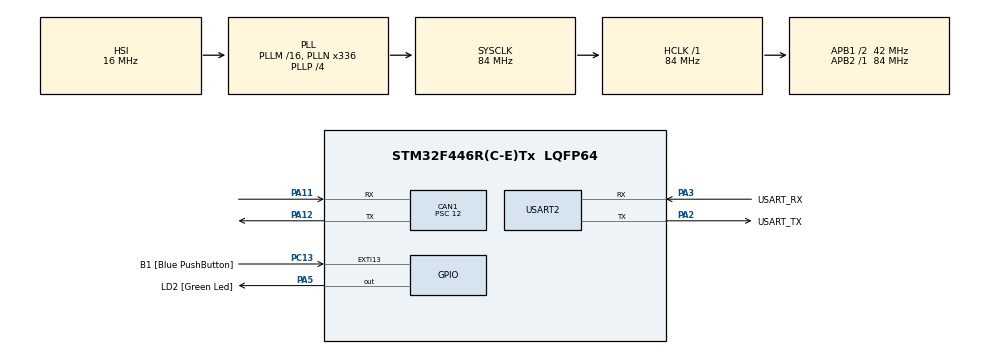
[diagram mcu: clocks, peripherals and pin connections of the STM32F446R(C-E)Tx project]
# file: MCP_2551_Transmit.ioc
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CAN1.BS1=CAN_BS1_5TQ
CAN1.CalculateBaudRate=500000
CAN1.CalculateTimeBit=2000
CAN1.CalculateTimeQuantum=285.7142857142857
CAN1.Prescaler=12
Mcu.Family=STM32F4
Mcu.Name=STM32F446R(C-E)Tx
Mcu.Package=LQFP64
NVIC.CAN1_RX0_IRQn=true\:0\:0\:false\:false\:true\:true\:true\:true
NVIC.PriorityGroup=NVIC_PRIORITYGROUP_0
PA11.Mode=CAN_Activate
PA11.Signal=CAN1_RX
PA12.Mode=CAN_Activate
PA12.Signal=CAN1_TX
PA13.GPIO_Label=TMS
PA13.Mode=Serial_Wire
PA13.Signal=SYS_JTMS-SWDIO
PA14.GPIO_Label=TCK
PA14.Mode=Serial_Wire
PA14.Signal=SYS_JTCK-SWCLK
PA2.GPIO_Label=USART_TX
PA2.Mode=Asynchronous
PA2.Signal=USART2_TX
PA3.GPIO_Label=USART_RX
PA3.Mode=Asynchronous
PA3.Signal=USART2_RX
PA5.GPIO_Label=LD2 [Green Led]
PA5.Signal=GPIO_Output
PB3.GPIO_Label=SWO
PB3.Signal=SYS_JTDO-SWO
PC13.GPIO_Label=B1 [Blue PushButton]
PC13.GPIO_ModeDefaultEXTI=GPIO_MODE_IT_FALLING
PC13.Signal=GPXTI13
PC14-OSC32_IN.Mode=LSE-External-Oscillator
PC14-OSC32_IN.Signal=RCC_OSC32_IN
PC15-OSC32_OUT.Mode=LSE-External-Oscillator
PC15-OSC32_OUT.Signal=RCC_OSC32_OUT
PH0-OSC_IN.Mode=HSE-External-Oscillator
PH0-OSC_IN.Signal=RCC_OSC_IN
PH1-OSC_OUT.Mode=HSE-External-Oscillator
PH1-OSC_OUT.Signal=RCC_OSC_OUT
ProjectManager.HeapSize=0x200
ProjectManager.StackSize=0x400
ProjectManager.TargetToolchain=STM32CubeIDE
RCC.48MHZClocksFreq_Value=84000000
RCC.AHBFreq_Value=84000000
RCC.APB1CLKDivider=RCC_HCLK_DIV2
RCC.APB1Freq_Value=42000000
RCC.APB1TimFreq_Value=84000000
RCC.APB2Freq_Value=84000000
RCC.APB2TimFreq_Value=84000000
RCC.CortexFreq_Value=84000000
RCC.FLatency-AdvancedSettings=FLASH_LATENCY_2
RCC.HCLKFreq_Value=84000000
RCC.HSE_VALUE=8000000
RCC.HSI_VALUE=16000000
RCC.PLLN=336
RCC.PLLP=RCC_PLLP_DIV4
RCC.SYSCLKFreq_VALUE=84000000
RCC.SYSCLKSource=RCC_SYSCLKSOURCE_PLLCLK
RCC.USBFreq_Value=168000000
RCC.VCOOutputFreq_Value=336000000
USART2.VirtualMode=VM_ASYNC
board=NUCLEO-F446RE

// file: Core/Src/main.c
/* USER CODE BEGIN Header */
/**
  ******************************************************************************
  * @file           : main.c
  * @brief          : Main program body
  ******************************************************************************
  * @attention
  *
  * Copyright (c) 2023 STMicroelectronics.
  * All rights reserved.
  *
  * This software is licensed under terms that can be found in the LICENSE file
  * in the root directory of this software component.
  * If no LICENSE file comes with this software, it is provided AS-IS.
  *
  ******************************************************************************
  */
/* USER CODE END Header */
#include "main.h"

CAN_HandleTypeDef hcan1;

UART_HandleTypeDef huart2;

void SystemClock_Config(void);
static void MX_GPIO_Init(void);
static void MX_USART2_UART_Init(void);
static void MX_CAN1_Init(void);

/* USER CODE BEGIN 0 */
CAN_TxHeaderTypeDef TxHeader;
CAN_RxHeaderTypeDef RxHeader;

uint8_t TxData[8] = "TG\r\n";
uint8_t RxData[8];

uint32_t TxMailbox;

int datacheck = 0;

void Can_Start()
{

		HAL_CAN_AddTxMessage(&hcan1, &TxHeader, TxData, &TxMailbox);

}

void HAL_CAN_RxFifo0MsgPendingCallback(CAN_HandleTypeDef *hcan)
{
	HAL_CAN_GetRxMessage(&hcan1, CAN_RX_FIFO0, &RxHeader, RxData);
	datacheck = 1;
}

void send_uart(char *string)
{
	uint8_t len = strlen(string);
	HAL_UART_Transmit(&huart2, (uint8_t *) string, len, 2000);
}
/* USER CODE END 0 */

int main(void)
{

  /* MCU Configuration--------------------------------------------------------*/

  /* Reset of all peripherals, Initializes the Flash interface and the Systick. */
  HAL_Init();

  /* Configure the system clock */
  SystemClock_Config();

  /* Initialize all configured peripherals */
  MX_GPIO_Init();
  MX_USART2_UART_Init();
  MX_CAN1_Init();
  /* USER CODE BEGIN 2 */
  HAL_CAN_Start(&hcan1);

  //Activate the notification
  HAL_CAN_ActivateNotification(&hcan1, CAN_IT_RX_FIFO0_MSG_PENDING);

  TxHeader.DLC  = 8; //Data length
  TxHeader.IDE = CAN_ID_STD;
  TxHeader.RTR = CAN_RTR_DATA;
  TxHeader.StdId = 0x222; //ID

  /* USER CODE END 2 */

  /* Infinite loop */
  while (1)
  {

    /* USER CODE BEGIN 3 */
	  if(HAL_GPIO_ReadPin(B1_GPIO_Port, B1_Pin) == 0)
	  {
		  Can_Start();
	  }
	  if(datacheck)
	  {
			send_uart(RxData);

		  datacheck = 0;
	  }
  }
  /* USER CODE END 3 */
}

void SystemClock_Config(void)
{
  RCC_OscInitTypeDef RCC_OscInitStruct = {0};
  RCC_ClkInitTypeDef RCC_ClkInitStruct = {0};

  /** Configure the main internal regulator output voltage
  */
  __HAL_RCC_PWR_CLK_ENABLE();
  __HAL_PWR_VOLTAGESCALING_CONFIG(PWR_REGULATOR_VOLTAGE_SCALE3);

  /** Initializes the RCC Oscillators according to the specified parameters
  * in the RCC_OscInitTypeDef structure.
  */
  RCC_OscInitStruct.OscillatorType = RCC_OSCILLATORTYPE_HSI;
  RCC_OscInitStruct.HSIState = RCC_HSI_ON;
  RCC_OscInitStruct.HSICalibrationValue = RCC_HSICALIBRATION_DEFAULT;
  RCC_OscInitStruct.PLL.PLLState = RCC_PLL_ON;
  RCC_OscInitStruct.PLL.PLLSource = RCC_PLLSOURCE_HSI;
  RCC_OscInitStruct.PLL.PLLM = 16;
  RCC_OscInitStruct.PLL.PLLN = 336;
  RCC_OscInitStruct.PLL.PLLP = RCC_PLLP_DIV4;
  RCC_OscInitStruct.PLL.PLLQ = 2;
  RCC_OscInitStruct.PLL.PLLR = 2;
  if (HAL_RCC_OscConfig(&RCC_OscInitStruct) != HAL_OK)
  {
    Error_Handler();
  }

  /** Initializes the CPU, AHB and APB buses clocks
  */
  RCC_ClkInitStruct.ClockType = RCC_CLOCKTYPE_HCLK|RCC_CLOCKTYPE_SYSCLK
                              |RCC_CLOCKTYPE_PCLK1|RCC_CLOCKTYPE_PCLK2;
  RCC_ClkInitStruct.SYSCLKSource = RCC_SYSCLKSOURCE_PLLCLK;
  RCC_ClkInitStruct.AHBCLKDivider = RCC_SYSCLK_DIV1;
  RCC_ClkInitStruct.APB1CLKDivider = RCC_HCLK_DIV2;
  RCC_ClkInitStruct.APB2CLKDivider = RCC_HCLK_DIV1;

  if (HAL_RCC_ClockConfig(&RCC_ClkInitStruct, FLASH_LATENCY_2) != HAL_OK)
  {
    Error_Handler();
  }
}

static void MX_CAN1_Init(void)
{

  hcan1.Instance = CAN1;
  hcan1.Init.Prescaler = 12;
  hcan1.Init.Mode = CAN_MODE_NORMAL;
  hcan1.Init.SyncJumpWidth = CAN_SJW_1TQ;
  hcan1.Init.TimeSeg1 = CAN_BS1_5TQ;
  hcan1.Init.TimeSeg2 = CAN_BS2_1TQ;
  hcan1.Init.TimeTriggeredMode = DISABLE;
  hcan1.Init.AutoBusOff = DISABLE;
  hcan1.Init.AutoWakeUp = DISABLE;
  hcan1.Init.AutoRetransmission = DISABLE;
  hcan1.Init.ReceiveFifoLocked = DISABLE;
  hcan1.Init.TransmitFifoPriority = DISABLE;
  if (HAL_CAN_Init(&hcan1) != HAL_OK)
  {
    Error_Handler();
  }
  /* USER CODE BEGIN CAN1_Init 2 */
  CAN_FilterTypeDef canfilterconfig;

  canfilterconfig.FilterActivation = CAN_FILTER_ENABLE;
  canfilterconfig.FilterBank = 18; //Wich filter bank to use from the assigned ones
  canfilterconfig.FilterFIFOAssignment = CAN_FILTER_FIFO0;
  canfilterconfig.FilterIdHigh = 0x103<<5;
  canfilterconfig.FilterIdLow = 0;
  canfilterconfig.FilterMaskIdHigh = 0x100<<5;
  canfilterconfig.FilterMaskIdLow = 0x0000;
  canfilterconfig.FilterMode = CAN_FILTERMODE_IDMASK;
  canfilterconfig.FilterScale = CAN_FILTERSCALE_32BIT;
  canfilterconfig.SlaveStartFilterBank = 20; //How many filters to assign to the CAN1 (master can)

  HAL_CAN_ConfigFilter(&hcan1, &canfilterconfig);
  /* USER CODE END CAN1_Init 2 */

}

static void MX_USART2_UART_Init(void)
{

  huart2.Instance = USART2;
  huart2.Init.BaudRate = 115200;
  huart2.Init.WordLength = UART_WORDLENGTH_8B;
  huart2.Init.StopBits = UART_STOPBITS_1;
  huart2.Init.Parity = UART_PARITY_NONE;
  huart2.Init.Mode = UART_MODE_TX_RX;
  huart2.Init.HwFlowCtl = UART_HWCONTROL_NONE;
  huart2.Init.OverSampling = UART_OVERSAMPLING_16;
  if (HAL_UART_Init(&huart2) != HAL_OK)
  {
    Error_Handler();
  }

}

static void MX_GPIO_Init(void)
{
  GPIO_InitTypeDef GPIO_InitStruct = {0};

  /* GPIO Ports Clock Enable */
  __HAL_RCC_GPIOC_CLK_ENABLE();
  __HAL_RCC_GPIOH_CLK_ENABLE();
  __HAL_RCC_GPIOA_CLK_ENABLE();
  __HAL_RCC_GPIOB_CLK_ENABLE();

  /*Configure GPIO pin Output Level */
  HAL_GPIO_WritePin(LD2_GPIO_Port, LD2_Pin, GPIO_PIN_RESET);

  /*Configure GPIO pin : B1_Pin */
  GPIO_InitStruct.Pin = B1_Pin;
  GPIO_InitStruct.Mode = GPIO_MODE_IT_FALLING;
  GPIO_InitStruct.Pull = GPIO_NOPULL;
  HAL_GPIO_Init(B1_GPIO_Port, &GPIO_InitStruct);

  /*Configure GPIO pin : LD2_Pin */
  GPIO_InitStruct.Pin = LD2_Pin;
  GPIO_InitStruct.Mode = GPIO_MODE_OUTPUT_PP;
  GPIO_InitStruct.Pull = GPIO_NOPULL;
  GPIO_InitStruct.Speed = GPIO_SPEED_FREQ_LOW;
  HAL_GPIO_Init(LD2_GPIO_Port, &GPIO_InitStruct);

}

void Error_Handler(void)
{
  __disable_irq();
  while (1)
  {
  }
}
